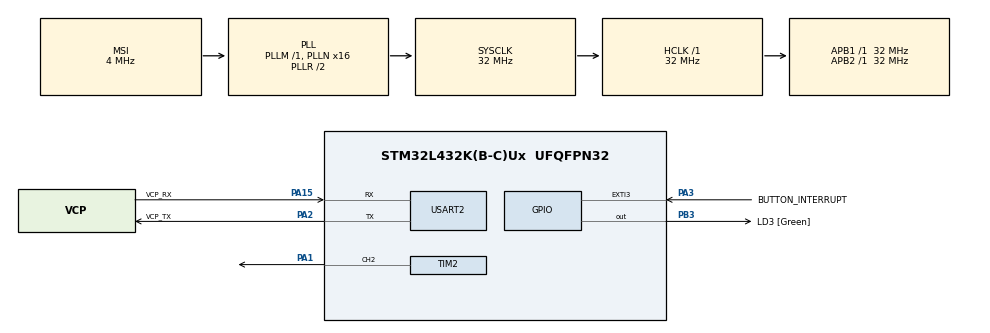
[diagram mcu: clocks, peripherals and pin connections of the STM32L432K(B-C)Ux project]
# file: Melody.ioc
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Mcu.Family=STM32L4
Mcu.Name=STM32L432K(B-C)Ux
Mcu.Package=UFQFPN32
NVIC.EXTI3_IRQn=true\:0\:0\:false\:false\:true\:true\:true\:true
NVIC.PriorityGroup=NVIC_PRIORITYGROUP_4
PA0.GPIO_Label=MCO [High speed clock in]
PA0.Mode=HSE-External-Clock-Source-for-LittleOrca
PA0.Signal=RCC_CK_IN
PA1.Signal=S_TIM2_CH2
PA13\ (JTMS-SWDIO).GPIO_Label=SWDIO
PA13\ (JTMS-SWDIO).Mode=Serial_Wire
PA13\ (JTMS-SWDIO).Signal=SYS_JTMS-SWDIO
PA14\ (JTCK-SWCLK).GPIO_Label=SWCLK
PA14\ (JTCK-SWCLK).Mode=Serial_Wire
PA14\ (JTCK-SWCLK).Signal=SYS_JTCK-SWCLK
PA15\ (JTDI).GPIO_Label=VCP_RX
PA15\ (JTDI).Mode=Asynchronous
PA15\ (JTDI).Signal=USART2_RX
PA2.GPIO_Label=VCP_TX
PA2.Mode=Asynchronous
PA2.Signal=USART2_TX
PA3.GPIO_Label=BUTTON_INTERRUPT
PA3.GPIO_ModeDefaultEXTI=GPIO_MODE_IT_FALLING
PA3.GPIO_PuPd=GPIO_PULLDOWN
PA3.Signal=GPXTI3
PB3\ (JTDO-TRACESWO).GPIO_Label=LD3 [Green]
PB3\ (JTDO-TRACESWO).Signal=GPIO_Output
PC14-OSC32_IN\ (PC14).Mode=LSE-External-Oscillator
PC14-OSC32_IN\ (PC14).Signal=RCC_OSC32_IN
PC15-OSC32_OUT\ (PC15).Mode=LSE-External-Oscillator
PC15-OSC32_OUT\ (PC15).Signal=RCC_OSC32_OUT
ProjectManager.HeapSize=0x200
ProjectManager.StackSize=0x400
ProjectManager.TargetToolchain=Makefile
RCC.AHBFreq_Value=32000000
RCC.APB1Freq_Value=32000000
RCC.APB1TimFreq_Value=32000000
RCC.APB2Freq_Value=32000000
RCC.APB2TimFreq_Value=32000000
RCC.CortexFreq_Value=32000000
RCC.HCLKFreq_Value=32000000
RCC.HSE_VALUE=8000000
RCC.HSI16_VALUE=16000000
RCC.HSI48_VALUE=48000000
RCC.HSI_VALUE=16000000
RCC.MSI_VALUE=4000000
RCC.PLLMUL=RCC_PLLMUL_4
RCC.PLLN=16
RCC.SYSCLKFreq_VALUE=32000000
RCC.SYSCLKSource=RCC_SYSCLKSOURCE_PLLCLK
RCC.VCOOutputFreq_Value=64000000
SH.S_TIM2_CH2.0=TIM2_CH2,PWM Generation2 CH2
TIM2.Channel-PWM\ Generation2\ CH2=TIM_CHANNEL_2
TIM2.Period=122310
TIM2.Pulse-PWM\ Generation2\ CH2=122310/2
USART2.VirtualMode-Asynchronous=VM_ASYNC
board=NUCLEO-L432KC

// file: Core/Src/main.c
/* USER CODE BEGIN Header */
/**
  ******************************************************************************
  * @file           : main.c
  * @brief          : Main program body
  ******************************************************************************
  * @attention
  *
  * Copyright (c) 2022 STMicroelectronics.
  * All rights reserved.
  *
  * This software is licensed under terms that can be found in the LICENSE file
  * in the root directory of this software component.
  * If no LICENSE file comes with this software, it is provided AS-IS.
  *
  ******************************************************************************
  */
/* USER CODE END Header */
#include "main.h"
#include "tim.h"
#include "usart.h"
#include "gpio.h"
#include "frequency.h"

unsigned long NoteStartTime = 0;

/* USER CODE BEGIN PV */

int bpm = 120;
int SongID =1;
struct ton song1[] = {
// Bar 1
{NOTE_C4, 8},
{NOTE_D4, 8},
{NOTE_E4, 8},
{NOTE_F4, 8},
{NOTE_G4, 4},
{NOTE_G4, 4},
{NOTE_A4, 8},
{NOTE_A4, 8},
{NOTE_A4, 8},
{NOTE_A4, 8},
{NOTE_G4, 2},
/*// Bar 2
{NOTE_A4, 8},
{NOTE_A4, 8},
{NOTE_A4, 8},
{NOTE_A4, 8},
{NOTE_G4, 2},
{NOTE_F4, 8},
{NOTE_F4, 8},
{NOTE_F4, 8},
{NOTE_F4, 8},
{NOTE_E4, 4},
{NOTE_E4, 4},
// Bar 3
{NOTE_G4, 8},
{NOTE_G4, 8},
{NOTE_G4, 8},
{NOTE_G4, 8},
{NOTE_C4, 4},*/
{0, 4}
};

struct ton song2[] ={
  //Bar 1
  {NOTE_D4_SHARP, 4},
  {1, 4},
  {NOTE_D4_SHARP, 4},
  {1, 4},

  {NOTE_D4_SHARP, 4},
  {1, 4},
  {NOTE_D4_SHARP, 4},
  {NOTE_D4, 4},

  {NOTE_D4_SHARP, 16},
  {1, 16},
  {NOTE_D4_SHARP, 16},
  {1, 16},
  {1, 4},
  {NOTE_D4_SHARP, 16},
  {1, 16},
  {NOTE_D4_SHARP, 16},
  {1, 16},
  {1, 4},

  {NOTE_D4_SHARP, 16},
  {1, 16},
  {NOTE_D4_SHARP, 16},
  {1, 16},
  {1, 4},
  {NOTE_D4_SHARP, 16},
  {1, 16},
  {NOTE_D4_SHARP, 16},
  {1, 16},
  {NOTE_A4_SHARP, 4},

  {NOTE_D4_SHARP, 16},
  {1, 16},
  {NOTE_D4_SHARP, 16},
  {1, 16},
  {1, 4},
  {NOTE_D4_SHARP, 16},
  {1, 16},
  {NOTE_D4_SHARP, 16},
  {1, 16},
  {1, 4},

  {NOTE_D4_SHARP, 16},
  {1, 16},
  {NOTE_D4_SHARP, 16},
  {1, 16},
  {1, 4},
  {NOTE_D4_SHARP, 16},
  {1, 16},
  {NOTE_D4_SHARP, 16},
  {1, 16},
  {NOTE_B4, 4},

  {NOTE_D4_SHARP, 16},
  {1, 16},
  {NOTE_D4_SHARP, 16},
  {1, 16},
  {1, 4},
  {NOTE_D4_SHARP, 16},
  {1, 16},
  {NOTE_D4_SHARP, 16},
  {1, 16},
  {1, 4},

  //Bar 2

  {NOTE_D4_SHARP, 16},
  {1, 16},
  {NOTE_D4_SHARP, 16},
  {1, 16},
  {1, 4},
  {NOTE_D4_SHARP, 16},
  {1, 16},
  {NOTE_D4_SHARP, 16},
  {1, 16},
  {NOTE_C5_SHARP, 4},

  {NOTE_D4_SHARP, 16},
  {1, 16},
  {NOTE_D4_SHARP, 16},
  {1, 16},
  {NOTE_A4_SHARP, 4},
  {NOTE_D4_SHARP, 16},
  {1, 16},
  {NOTE_D4_SHARP, 16},
  {1, 16},
  {NOTE_B4, 4},

  {NOTE_D4_SHARP, 16},
  {1, 16},
  {NOTE_D4_SHARP, 16},
  {1, 16},
  {NOTE_A4_SHARP, 4},
  {NOTE_D4_SHARP, 16},
  {1, 16},
  {NOTE_D4_SHARP, 16},
  {1, 16},
  {NOTE_D4, 4},

  {NOTE_D4_SHARP, 16},
  {1, 16},
  {NOTE_D4_SHARP, 16},
  {1, 16},
  {NOTE_A4_SHARP, 4},
  {NOTE_D4_SHARP, 16},
  {1, 16},
  {NOTE_D4_SHARP, 16},
  {1, 16},
  {NOTE_B4, 4},

  {NOTE_D4_SHARP, 16},
  {1, 16},
  {NOTE_D4_SHARP, 16},
  {1, 16},
  {NOTE_A4_SHARP, 4},
  {NOTE_D4_SHARP, 16},
  {1, 16},
  {NOTE_D4_SHARP, 16},
  {1, 16},
  {NOTE_F4, 4},

  {NOTE_D4_SHARP, 16},
  {1, 16},
  {NOTE_D4_SHARP, 16},
  {1, 16},
  {NOTE_A4_SHARP, 4},
  {NOTE_D4_SHARP, 16},
  {1, 16},
  {NOTE_D4_SHARP, 16},
  {1, 16},
  {NOTE_B4, 4},

  // Bar 3

  {NOTE_D4_SHARP, 16},
  {1, 16},
  {NOTE_D4_SHARP, 16},
  {1, 16},
  {NOTE_A4_SHARP, 4},
  {NOTE_D4_SHARP, 16},
  {1, 16},
  {NOTE_D4_SHARP, 16},
  {1, 16},
  {NOTE_D4, 4},

  {NOTE_D4_SHARP, 16},
  {1, 16},
  {NOTE_D4_SHARP, 16},
  {1, 16},
  {NOTE_A4_SHARP, 4},
  {NOTE_D4_SHARP, 16},
  {1, 16},
  {NOTE_D4_SHARP, 16},
  {1, 16},
  {NOTE_B4, 4},

  {NOTE_D4_SHARP, 16},
  {1, 16},
  {NOTE_D4_SHARP, 16},
  {1, 16},
  {NOTE_C5, 4},
  {NOTE_D4_SHARP, 16},
  {1, 16},
  {NOTE_D4_SHARP, 16},
  {1, 16},
  {NOTE_C5_SHARP, 4},

  {NOTE_D5_SHARP, 2},
  {NOTE_D4_SHARP, 2},

  {NOTE_E5, 2},
  {NOTE_E5, 4},
  {NOTE_A4_SHARP, 16},
  {NOTE_B4, 16},
  {NOTE_C5, 16},
  {NOTE_C5_SHARP, 16},

  //Bar 4

  {NOTE_D5_SHARP, 4},
  {NOTE_D5_SHARP, 8},
  {NOTE_A5_SHARP, 4},
  {NOTE_A5_SHARP, 8},
  {NOTE_D5_SHARP, 8},
  {NOTE_D5, 8},

  {NOTE_C5_SHARP, 4},
  {NOTE_C5, 4},
  {NOTE_B4, 4},
  {NOTE_A4_SHARP, 4},

  {NOTE_B4, 2},
  {NOTE_E5, 2},

  {NOTE_G4_SHARP, 16},
  {1, 16},
  {NOTE_G4_SHARP, 16},
  {1, 16},
  {NOTE_B4, 4},
  {NOTE_G4_SHARP, 16},
  {1, 16},
  {NOTE_G4_SHARP, 16},
  {NOTE_C5_SHARP, 4},

  //Bar 5

  {NOTE_D5_SHARP, 4},
  {NOTE_D5_SHARP, 8},
  {NOTE_A4_SHARP, 4},
  {NOTE_A4_SHARP, 8},
  {NOTE_D5_SHARP, 8},
  {NOTE_D5, 8},

  {NOTE_C5_SHARP, 4},
  {NOTE_C5, 4},
  {NOTE_B4, 4},
  {NOTE_A4_SHARP,8},
  {NOTE_B4, 8},

  {NOTE_E5, 2},
  {NOTE_G5_SHARP, 2},

  {NOTE_E5, 2},
  {NOTE_B5, 2},

  {NOTE_D5_SHARP, 16},
  {1, 16},
  {NOTE_D5_SHARP, 16},
  {1, 16},
  {1, 8},
  {NOTE_D5_SHARP, 8},
  {1, 8},
  {NOTE_D5_SHARP, 8},
  {1, 8},
  {NOTE_D5_SHARP, 8},

  //Bar 6

  {1, 8},
  {NOTE_D5_SHARP, 8},
  {1, 8},
  {NOTE_D5_SHARP, 8},
  {NOTE_E5, 8},
  {1, 8},
  {NOTE_E5, 8},
  {1, 8},

  {NOTE_D5_SHARP, 16},
  {1, 16},
  {NOTE_D5_SHARP, 16},
  {1, 16},
  {1, 8},
  {NOTE_D5_SHARP, 8},
  {1, 8},
  {NOTE_D5_SHARP, 8},
  {1, 8},
  {NOTE_D5_SHARP, 8},

  {1, 8},
  {NOTE_D5_SHARP, 8},
  {1, 8},
  {NOTE_D5_SHARP, 8},
  {NOTE_F5_SHARP, 8},
  {1, 8},
  {NOTE_F5_SHARP, 8},
  {1, 8},

  {NOTE_D5_SHARP, 2},
  {NOTE_D4_SHARP, 2},

  {NOTE_A4_SHARP, 2},
  {1, 2},

  //Bar 7

  {NOTE_D4_SHARP, 1},

  {NOTE_D4_SHARP, 1},

  {NOTE_F4, 1},

  {NOTE_F4_SHARP, 1},

  {NOTE_D6_SHARP, 4},
  {NOTE_D6, 4},
  {NOTE_C6_SHARP, 4},
  {NOTE_C6, 4},

  //Bar 8

  {NOTE_D6_SHARP, 8},
  {NOTE_D6, 8},
  {NOTE_C6_SHARP, 8},
  {NOTE_C6, 8},
  {NOTE_B5, 8},
  {1, 8},
  {NOTE_B5, 8},
  {1, 8},

  {NOTE_D6_SHARP, 4},
  {NOTE_D6, 4},
  {NOTE_C6_SHARP, 4},
  {NOTE_C6, 4},

  {NOTE_D6_SHARP, 8},
  {NOTE_D6, 8},
  {NOTE_C6_SHARP, 8},
  {NOTE_C6, 8},
  {NOTE_B5, 8},
  {1, 8},
  {NOTE_B5, 8},
  {1, 8},

  {NOTE_D4_SHARP, 1},

  // Bar 9

  {NOTE_B4, 1},

  {NOTE_A4_SHARP, 1},

  {NOTE_G4_SHARP, 1},

  {NOTE_D4_SHARP, 16},
  {1, 16},
  {NOTE_D4_SHARP, 16},
  {1, 16},
  {NOTE_A4_SHARP, 4},
  {NOTE_D4_SHARP, 16},
  {1, 16},
  {NOTE_D4_SHARP, 16},
  {1, 16},
  {NOTE_B4, 4},

  {NOTE_D4_SHARP, 16},
  {1, 16},
  {NOTE_D4_SHARP, 16},
  {1, 16},
  {NOTE_A4_SHARP, 4},
  {NOTE_D4_SHARP, 16},
  {1, 16},
  {NOTE_A4, 16},
  {1, 16},
  {NOTE_D4, 4},

  // Bar 10

  {NOTE_D4_SHARP, 16},
  {1, 16},
  {NOTE_D4_SHARP, 16},
  {1, 16},
  {NOTE_A4_SHARP, 4},
  {NOTE_D4_SHARP, 16},
  {1, 16},
  {NOTE_D4_SHARP, 16},
  {1, 16},
  {NOTE_B4, 4},

  {NOTE_D4_SHARP, 16},
  {1, 16},
  {NOTE_D4_SHARP, 16},
  {1, 16},
  {NOTE_C5_SHARP, 4},
  {NOTE_D4_SHARP, 16},
  {1, 16},
  {NOTE_D4_SHARP, 16},
  {1, 16},
  {NOTE_D5, 4},

  {NOTE_D5_SHARP, 2},
  {NOTE_E5, 2},

  {NOTE_F5_SHARP, 2},
  {NOTE_E5, 2},

  //Bar 11

  {NOTE_D5_SHARP, 2},
  {NOTE_E5, 2},

  {NOTE_F5_SHARP, 2},
  {NOTE_G5_SHARP, 2},

  {NOTE_D4_SHARP, 16},
  {1, 16},
  {NOTE_D4_SHARP, 16},
  {1, 16},
  {1, 8},
  {NOTE_D4_SHARP, 16},
  {1, 16},
  {NOTE_D4_SHARP, 16},
  {1, 16},
  {1, 8},

  {NOTE_D4_SHARP, 16},
  {1, 16},
  {NOTE_D4_SHARP, 16},
  {1, 16},
  {1, 8},
  {NOTE_D4_SHARP, 16},
  {1, 16},
  {NOTE_D4_SHARP, 16},
  {1, 16},
  {1, 8},

  //Bar 12

  {NOTE_D4_SHARP, 16},
  {1, 16},
  {NOTE_D4_SHARP, 16},
  {1, 16},
  {NOTE_B4, 4},
  {NOTE_D4_SHARP, 8},
  {NOTE_D4_SHARP, 4},
  {NOTE_D4_SHARP, 8},

  {NOTE_D4_SHARP, 1},

  {NOTE_D4_SHARP, 1},
  {0, 1},
};

struct ton song3[] ={
  {NOTE_G5, 8},
  {NOTE_G5, 8},
  {NOTE_G5, 8},
  {NOTE_G5, 8},
  {NOTE_C5, 4},
  {0, 4}
  };

struct ton song4[] ={
  {NOTE_G3, 8},
  {NOTE_G3, 8},
  {NOTE_G3, 8},
  {NOTE_G3, 8},
  {NOTE_C3, 4},
  {0, 4}
  };

/* USER CODE END PV */

void SystemClock_Config(void);

/* USER CODE BEGIN 0 */

/**
  * changes frequency of the timer signal.
  *
  * @param tone is defined as an int value to adjust the timer parameters
  */
void tone_set(int tone){
  __HAL_TIM_SET_AUTORELOAD(&htim2, tone);
  __HAL_TIM_SET_COMPARE(&htim2, TIM_CHANNEL_2, tone/2);
  __HAL_TIM_SET_COUNTER(&htim2, 0);
}

/**
  * switches the Output Pins for the LEDs to create an alternating blinking effect.
  */
void leds(){
  HAL_GPIO_TogglePin(GPIOB, GPIO_PIN_1);
  HAL_GPIO_TogglePin(GPIOB, GPIO_PIN_6);
}

/**
  * is the main function that plays the notes using a loop.
  *
  * This function starts a while loop for the duration of the playing note
  * during the loop the button is checked and ends the whole play_song function
  * It also checks for 1/4 Notes of time to trigger the LEDs
  *
  * @param  song is a whole music piece in form of a struct array {note, length}
  *         is required to have an element {0,x} as its last element
  *         as otherwise the function won't terminate
  *
  */
  void play_song(struct ton song[]){
  unsigned long ledtick = HAL_GetTick();
  for(int i = 0; song[i].note!= 0;i++){
    int interval = note_duration(song[i],bpm);

    tone_set(song[i].note);
    tone_start();

    unsigned long NoteStartTime = HAL_GetTick();
    while(HAL_GetTick() - NoteStartTime <= interval){
      if(HAL_GetTick() - ledtick >= 60000/bpm){
        ledtick = HAL_GetTick();
        leds();
      }
      if(Status==1){
        tone_stop();
        SongID++;
        Status=0;
        return;
      }
    }
    tone_stop();
  }

}

/**
  * just starts the timer to create a tone.
  */
void tone_start(){

  HAL_TIM_PWM_Start(&htim2, TIM_CHANNEL_2);

}

/**
  * ends the timer to stop the sound.
  */
void tone_stop(){

  HAL_TIM_PWM_Stop(&htim2, TIM_CHANNEL_2);

}

/**
  * a function to calculate the duration of a note
  *
  * @param  note is one struct of the type ton
  * @param  bpm is the beats per minute
  * @return the length the note is suppost to be played, calculatet from bpm and
            the length of the note e.g 1/4, 1/2
  */
int note_duration(struct ton note,int bpm){
    return 60/(bpm/4)*1000 / note.len;
}

/* USER CODE END 0 */

int main(void)
{

  /* MCU Configuration--------------------------------------------------------*/

  /* Reset of all peripherals, Initializes the Flash interface and the Systick. */
  HAL_Init();

  /* Configure the system clock */
  SystemClock_Config();

  /* Initialize all configured peripherals */
  MX_GPIO_Init();
  MX_USART2_UART_Init();
  MX_TIM2_Init();
  /* USER CODE BEGIN 2 */

  HAL_GPIO_TogglePin(GPIOB, GPIO_PIN_1);

  /* USER CODE END 2 */

  /* Infinite loop */
  /* USER CODE BEGIN WHILE */
  while (1)
  {
    while(SongID == 1){
      bpm = 120;
      play_song(song1);
      HAL_Delay(1000);
    }

    while(SongID == 2){
      bpm = 190;
      play_song(song2);
      HAL_Delay(1000);
    }

    while(SongID == 3){
      bpm = 120;
      play_song(song3);
      HAL_Delay(1000);
    }

    while(SongID == 4){
      bpm = 120;
      play_song(song4);
      HAL_Delay(1000);
    }
    if (SongID > 4)
      SongID = 1;

    /* USER CODE END WHILE */

  }
}

void SystemClock_Config(void)
{
  RCC_OscInitTypeDef RCC_OscInitStruct = {0};
  RCC_ClkInitTypeDef RCC_ClkInitStruct = {0};

  /** Configure the main internal regulator output voltage
  */
  if (HAL_PWREx_ControlVoltageScaling(PWR_REGULATOR_VOLTAGE_SCALE1) != HAL_OK)
  {
    Error_Handler();
  }

  /** Configure LSE Drive Capability
  */
  HAL_PWR_EnableBkUpAccess();
  __HAL_RCC_LSEDRIVE_CONFIG(RCC_LSEDRIVE_LOW);

  /** Initializes the RCC Oscillators according to the specified parameters
  * in the RCC_OscInitTypeDef structure.
  */
  RCC_OscInitStruct.OscillatorType = RCC_OSCILLATORTYPE_LSE|RCC_OSCILLATORTYPE_MSI;
  RCC_OscInitStruct.LSEState = RCC_LSE_ON;
  RCC_OscInitStruct.MSIState = RCC_MSI_ON;
  RCC_OscInitStruct.MSICalibrationValue = 0;
  RCC_OscInitStruct.MSIClockRange = RCC_MSIRANGE_6;
  RCC_OscInitStruct.PLL.PLLState = RCC_PLL_ON;
  RCC_OscInitStruct.PLL.PLLSource = RCC_PLLSOURCE_MSI;
  RCC_OscInitStruct.PLL.PLLM = 1;
  RCC_OscInitStruct.PLL.PLLN = 16;
  RCC_OscInitStruct.PLL.PLLP = RCC_PLLP_DIV7;
  RCC_OscInitStruct.PLL.PLLQ = RCC_PLLQ_DIV2;
  RCC_OscInitStruct.PLL.PLLR = RCC_PLLR_DIV2;
  if (HAL_RCC_OscConfig(&RCC_OscInitStruct) != HAL_OK)
  {
    Error_Handler();
  }

  /** Initializes the CPU, AHB and APB buses clocks
  */
  RCC_ClkInitStruct.ClockType = RCC_CLOCKTYPE_HCLK|RCC_CLOCKTYPE_SYSCLK
                              |RCC_CLOCKTYPE_PCLK1|RCC_CLOCKTYPE_PCLK2;
  RCC_ClkInitStruct.SYSCLKSource = RCC_SYSCLKSOURCE_PLLCLK;
  RCC_ClkInitStruct.AHBCLKDivider = RCC_SYSCLK_DIV1;
  RCC_ClkInitStruct.APB1CLKDivider = RCC_HCLK_DIV1;
  RCC_ClkInitStruct.APB2CLKDivider = RCC_HCLK_DIV1;

  if (HAL_RCC_ClockConfig(&RCC_ClkInitStruct, FLASH_LATENCY_1) != HAL_OK)
  {
    Error_Handler();
  }

  /** Enable MSI Auto calibration
  */
  HAL_RCCEx_EnableMSIPLLMode();
}

void Error_Handler(void)
{
  __disable_irq();
  while (1)
  {
  }
}
